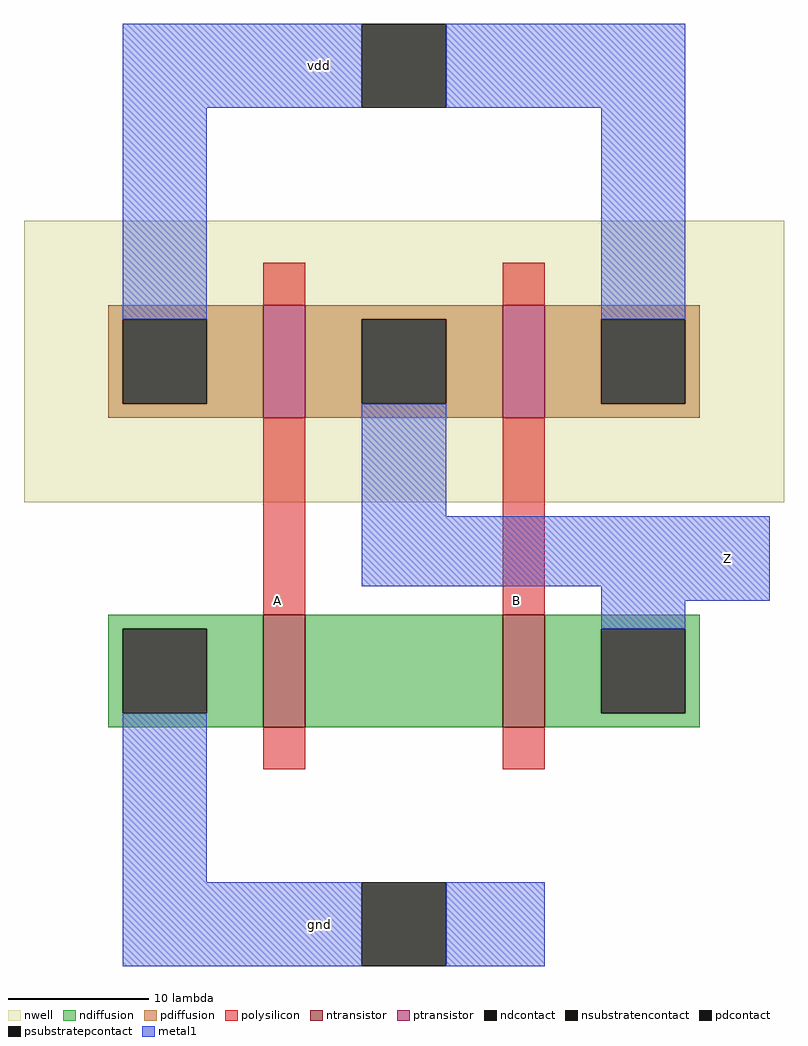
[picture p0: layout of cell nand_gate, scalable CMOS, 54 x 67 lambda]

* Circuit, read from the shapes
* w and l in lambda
.subckt nand_gate A B Z gnd vdd
M1 n1 A gnd gnd nfet w=8 l=3
M2 Z B n1 gnd nfet w=8 l=3
M3 Z A vdd n2 pfet w=8 l=3
M4 vdd B Z n2 pfet w=8 l=3
.ends

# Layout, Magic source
magic
tech scmos
<< nwell >>
rect -6 -6 48 14
<< ntransistor >>
rect 11 -22 14 -14
rect 28 -22 31 -14
<< ptransistor >>
rect 11 0 14 8
rect 28 0 31 8
<< ndiffusion >>
rect 0 -15 11 -14
rect 0 -21 1 -15
rect 7 -21 11 -15
rect 0 -22 11 -21
rect 14 -22 28 -14
rect 31 -15 42 -14
rect 31 -21 35 -15
rect 41 -21 42 -15
rect 31 -22 42 -21
<< pdiffusion >>
rect 0 7 11 8
rect 0 1 1 7
rect 7 1 11 7
rect 0 0 11 1
rect 14 7 28 8
rect 14 1 18 7
rect 24 1 28 7
rect 14 0 28 1
rect 31 7 42 8
rect 31 1 35 7
rect 41 1 42 7
rect 31 0 42 1
<< ndcontact >>
rect 1 -21 7 -15
rect 35 -21 41 -15
<< pdcontact >>
rect 1 1 7 7
rect 18 1 24 7
rect 35 1 41 7
<< psubstratepcontact >>
rect 18 -39 24 -33
<< nsubstratencontact >>
rect 18 22 24 28
<< polysilicon >>
rect 11 8 14 11
rect 28 8 31 11
rect 11 -14 14 0
rect 28 -14 31 0
rect 11 -25 14 -22
rect 28 -25 31 -22
<< metal1 >>
rect 1 22 18 28
rect 24 22 41 28
rect 1 7 7 22
rect 35 7 41 22
rect 18 -7 24 1
rect 18 -12 47 -7
rect 35 -13 47 -12
rect 35 -15 41 -13
rect 1 -33 7 -21
rect 1 -39 18 -33
rect 24 -39 31 -33
<< labels >>
rlabel metal1 15 -36 15 -36 1 gnd
rlabel metal1 15 25 15 25 5 vdd
rlabel polysilicon 12 -13 12 -13 1 A
rlabel polysilicon 29 -13 29 -13 1 B
rlabel metal1 44 -10 44 -10 7 Z
<< end >>
